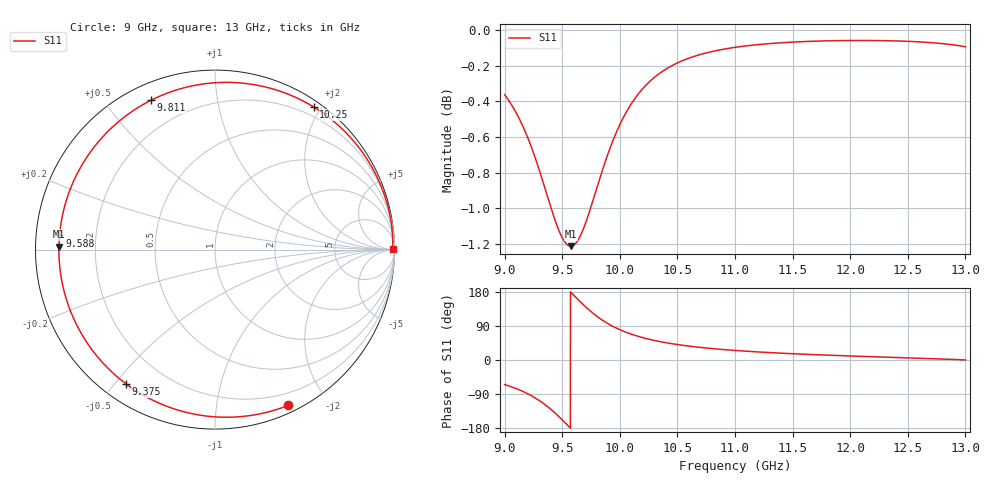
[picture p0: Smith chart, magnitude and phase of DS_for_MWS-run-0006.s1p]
! TOUCHSTONE file generated by CST DESIGN STUDIO
! Date and time: Wed Feb  5 13:39:13 2025
! Project name: C:\Work\MatlabApps\UnitCellOptimizationMatlab\CST\unitcell.cst
! Tree item: Tasks\Sweep1\SPara1\S-Parameters
! Header version: 2024
! Port assignment regex: !\s*Touchstone port\s*([0-9]+)\s*=\s*(CST MWS port|CST DES external port|CST DES block port)\s*(.+)\s* \(\"(.*)\"\)(\s*mode\s*([0-9]+))?.*
! Touchstone port assignment:
! Touchstone port 1 = CST DES external port 1 ("")
# GHz S MA R 50
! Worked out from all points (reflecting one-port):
!   4001 points, 9 GHz to 13 GHz, reference 50 ohm
!   lowest |S11| = -1.2 dB at 9.575 GHz (marker M1), VSWR 14.37, Z = 3.48 + j0.486 ohm
!   phase of S11 starts at -65 deg and turns -295 deg over the sweep
!   S11 on the Smith chart (normalised r, x): 9 GHz: 0.07, -1.57; 9.375 GHz: 0.07, -0.54; 9.588 GHz: 0.07, +0.05; 9.811 GHz: 0.07, +0.66; 10.25 GHz: 0.08, +1.91; 13 GHz: open
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9  0.9591 -64.9
9.043  0.9547 -69.1
9.11  0.9466 -76.6
9.225  0.9286 -93.0
9.304  0.9129 -107.6
9.375  0.8975 -123.5
9.436  0.8849 -139.3
9.5  0.8746 -157.9
9.538  0.871 -169.5
9.575  0.8698 178.9
9.588  0.87 174.8
9.644  0.874 157.5
9.706  0.8835 139.4
9.758  0.8939 125.6
9.811  0.9054 113.1
9.852  0.9141 104.5
9.896  0.9229 96.2
10  0.9406 80.0
10.117  0.9552 66.5
10.247  0.9664 55.3
10.365  0.9733 47.6
10.5  0.9789 40.8
10.721  0.9847 32.5
11  0.9887 25.2
11.5  0.9921 16.6
12  0.9931 10.6
12.5  0.9926 5.6
13  0.9891 0.2
